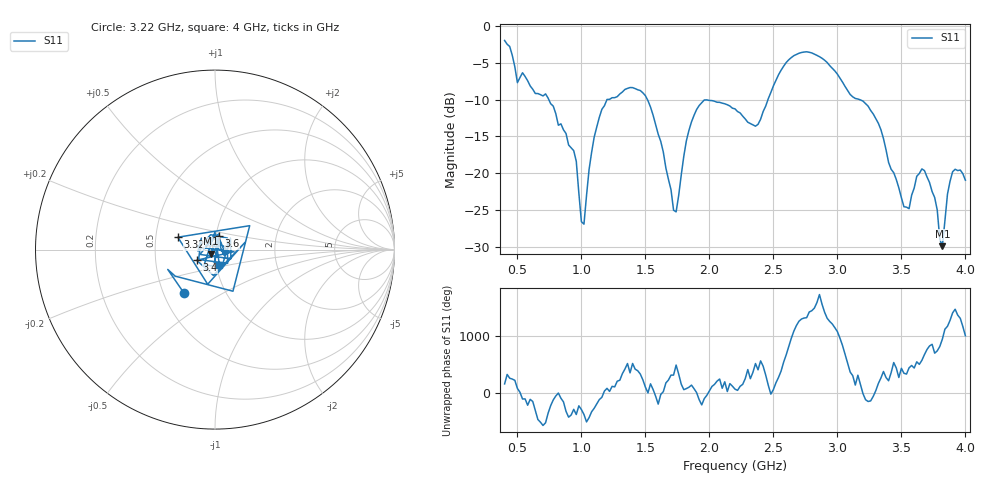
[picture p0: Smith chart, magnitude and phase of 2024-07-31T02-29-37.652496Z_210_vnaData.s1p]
!Created with skrf (http://scikit-rf.org).
# Hz S RI R 50.0
!freq ReS11 ImS11
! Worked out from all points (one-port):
!   181 points, 400 MHz to 4 GHz, reference 50 ohm
!   lowest |S11| = -29.9 dB at 3.82 GHz (marker M1), VSWR 1.07, Z = 47.8 - j2.19 ohm
!   |S11| at or under -10 dB: 745.2 MHz to 1.2 GHz (454.4 MHz wide, 46.7 % of centre); 1.516 GHz to 2.458 GHz (941.8 MHz wide, 47.4 % of centre); 3.173 GHz to end of sweep
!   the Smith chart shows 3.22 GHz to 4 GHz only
!   S11 on the Smith chart (normalised r, x): 3.22 GHz: 0.63, -0.33; 3.32 GHz: 0.65, +0.09; 3.4 GHz: 0.81, -0.10; 3.6 GHz: 1.03, +0.16; 4 GHz: 1.03, -0.18
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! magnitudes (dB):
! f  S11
! 400 MHz  -2.0
! 500 MHz  -7.7
! 720 MHz  -9.2
! 860 MHz  -14.1
! 960 MHz  -18.4
! 1 GHz  -26.6
! 1.02 GHz  -26.9
! 1.06 GHz  -19.5
! 1.14 GHz  -12.4
! 1.3 GHz  -9.2
! 1.5 GHz  -9.5
! 1.72 GHz  -25.0
! 1.76 GHz  -23.0
! 1.82 GHz  -15.6
! 1.92 GHz  -10.8
! 2.2 GHz  -11.3
! 2.38 GHz  -13.4
! 2.66 GHz  -4.0
! 3.1 GHz  -9.3
! 3.22 GHz  -10.6
! 3.32 GHz  -13.2
! 3.4 GHz  -18.6
! 3.56 GHz  -24.8
! 3.6 GHz  -22.0
! 3.68 GHz  -19.7
! 3.82 GHz  -29.9
! 3.9 GHz  -19.8
! 4 GHz  -21.0
